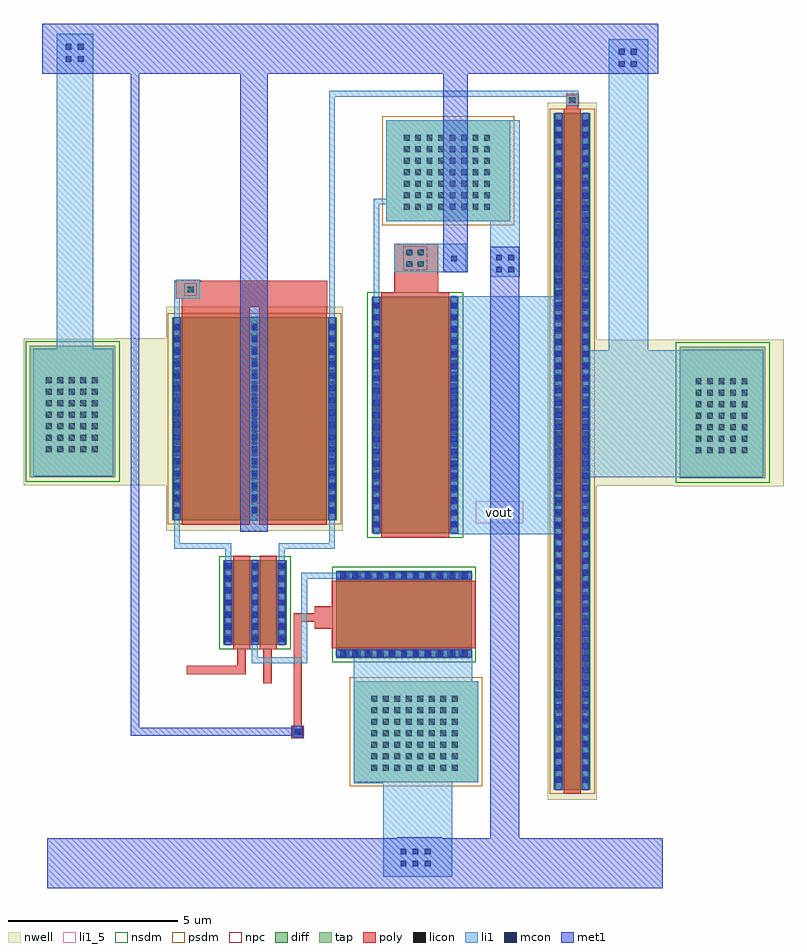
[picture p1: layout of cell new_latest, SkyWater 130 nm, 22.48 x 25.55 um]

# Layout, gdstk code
from math import pi, radians
import gdstk
lib = gdstk.Library(unit=1e-6, precision=1e-09)
def R(c, l, rs):  # rectangles x0, y0, x1, y1
    for r in rs: c.add(gdstk.rectangle(r[:2], r[2:], *l))
def A(c, l, x, y, w, h, nx, ny, dx, dy):  # array of equal rectangles
    R(c, l, [(x+i*dx, y+j*dy, x+i*dx+w, y+j*dy+h) for i in range(nx) for j in range(ny)])
nwell = (64, 20)
diff = (65, 20)
tap = (65, 44)
poly = (66, 20)
licon = (66, 44)
li1_5 = (67, 5)
li1 = (67, 20)
mcon = (67, 44)
met1 = (68, 20)
nsdm = (93, 44)
psdm = (94, 20)
npc = (95, 20)

sky130_fd_pr__nfet_01v8_ = lib.new_cell('sky130_fd_pr__nfet_01v8_DXAGR4')
R(sky130_fd_pr__nfet_01v8_, diff, [(-1.29,-3.5,1.29,3.5)])
R(sky130_fd_pr__nfet_01v8_, poly, [(-1,-3.63,1,3.63)])
A(sky130_fd_pr__nfet_01v8_, licon, -1.23, -3.315, 0.17, 0.17, 1, 20, 0, 0.34)
A(sky130_fd_pr__nfet_01v8_, licon, 1.06, -3.315, 0.17, 0.17, 1, 20, 0, 0.34)
R(sky130_fd_pr__nfet_01v8_, li1, [(-1.23,-3.52,-1.06,3.52), (1.06,-3.52,1.23,3.52)])
A(sky130_fd_pr__nfet_01v8_, mcon, -1.23, -3.325, 0.17, 0.17, 1, 19, 0, 0.36)
A(sky130_fd_pr__nfet_01v8_, mcon, 1.06, -3.325, 0.17, 0.17, 1, 19, 0, 0.36)
R(sky130_fd_pr__nfet_01v8_, met1, [(-1.26,-3.5,-1.03,3.5), (1.03,-3.5,1.26,3.5)])
R(sky130_fd_pr__nfet_01v8_, nsdm, [(-1.415,-3.625,1.415,3.625)])

c_sky130_fd_pr__nfet_01v8_ = lib.new_cell('sky130_fd_pr__nfet_01v8_JAAG9L')
R(c_sky130_fd_pr__nfet_01v8_, diff, [(-1.29,-2,1.29,2)])
R(c_sky130_fd_pr__nfet_01v8_, poly, [(-1,-2.13,1,2.13)])
A(c_sky130_fd_pr__nfet_01v8_, licon, -1.23, -1.785, 0.17, 0.17, 1, 11, 0, 0.34)
A(c_sky130_fd_pr__nfet_01v8_, licon, 1.06, -1.785, 0.17, 0.17, 1, 11, 0, 0.34)
R(c_sky130_fd_pr__nfet_01v8_, li1, [(-1.23,-2.02,-1.06,2.02), (1.06,-2.02,1.23,2.02)])
A(c_sky130_fd_pr__nfet_01v8_, mcon, -1.23, -1.885, 0.17, 0.17, 1, 11, 0, 0.36)
A(c_sky130_fd_pr__nfet_01v8_, mcon, 1.06, -1.885, 0.17, 0.17, 1, 11, 0, 0.36)
R(c_sky130_fd_pr__nfet_01v8_, met1, [(-1.26,-2,-1.03,2), (1.03,-2,1.26,2)])
R(c_sky130_fd_pr__nfet_01v8_, nsdm, [(-1.415,-2.125,1.415,2.125)])

sky130_fd_pr__pfet_01v8_ = lib.new_cell('sky130_fd_pr__pfet_01v8_A424KG')
R(sky130_fd_pr__pfet_01v8_, nwell, [(-0.72,-10.31,0.72,10.31)])
R(sky130_fd_pr__pfet_01v8_, diff, [(-0.54,-10,0.54,10)])
R(sky130_fd_pr__pfet_01v8_, poly, [(-0.25,-10.13,0.25,10.13)])
A(sky130_fd_pr__pfet_01v8_, licon, -0.48, -9.775, 0.17, 0.17, 1, 58, 0, 0.34)
A(sky130_fd_pr__pfet_01v8_, licon, 0.31, -9.775, 0.17, 0.17, 1, 58, 0, 0.34)
R(sky130_fd_pr__pfet_01v8_, li1, [(-0.48,-10.02,-0.31,10.02), (0.31,-10.02,0.48,10.02)])
A(sky130_fd_pr__pfet_01v8_, mcon, -0.48, -9.805, 0.17, 0.17, 1, 55, 0, 0.36)
A(sky130_fd_pr__pfet_01v8_, mcon, 0.31, -9.805, 0.17, 0.17, 1, 55, 0, 0.36)
R(sky130_fd_pr__pfet_01v8_, met1, [(-0.51,-10,-0.28,10), (0.28,-10,0.51,10)])
R(sky130_fd_pr__pfet_01v8_, psdm, [(-0.665,-10.125,0.665,10.125)])

c_sky130_fd_pr__pfet_01v8_ = lib.new_cell('sky130_fd_pr__pfet_01v8_LMLH7X')
R(c_sky130_fd_pr__pfet_01v8_, nwell, [(-1.47,-3.31,1.47,3.31)])
R(c_sky130_fd_pr__pfet_01v8_, diff, [(-1.29,-3,1.29,3)])
R(c_sky130_fd_pr__pfet_01v8_, poly, [(-1,-3.13,1,3.13)])
A(c_sky130_fd_pr__pfet_01v8_, licon, -1.23, -2.805, 0.17, 0.17, 1, 17, 0, 0.34)
A(c_sky130_fd_pr__pfet_01v8_, licon, 1.06, -2.805, 0.17, 0.17, 1, 17, 0, 0.34)
R(c_sky130_fd_pr__pfet_01v8_, li1, [(-1.23,-3.02,-1.06,3.02), (1.06,-3.02,1.23,3.02)])
A(c_sky130_fd_pr__pfet_01v8_, mcon, -1.23, -2.785, 0.17, 0.17, 1, 16, 0, 0.36)
A(c_sky130_fd_pr__pfet_01v8_, mcon, 1.06, -2.785, 0.17, 0.17, 1, 16, 0, 0.36)
R(c_sky130_fd_pr__pfet_01v8_, met1, [(-1.26,-3,-1.03,3), (1.03,-3,1.26,3)])
R(c_sky130_fd_pr__pfet_01v8_, psdm, [(-1.415,-3.125,1.415,3.125)])

c_sky130_fd_pr__nfet_01v8__ = lib.new_cell('sky130_fd_pr__nfet_01v8_LYFHMA')
R(c_sky130_fd_pr__nfet_01v8__, diff, [(-0.54,-1.25,0.54,1.25)])
R(c_sky130_fd_pr__nfet_01v8__, poly, [(-0.25,-1.38,0.25,1.38)])
A(c_sky130_fd_pr__nfet_01v8__, licon, -0.48, -1.105, 0.17, 0.17, 1, 7, 0, 0.34)
A(c_sky130_fd_pr__nfet_01v8__, licon, 0.31, -1.105, 0.17, 0.17, 1, 7, 0, 0.34)
R(c_sky130_fd_pr__nfet_01v8__, li1, [(-0.48,-1.27,-0.31,1.27), (0.31,-1.27,0.48,1.27)])
A(c_sky130_fd_pr__nfet_01v8__, mcon, -0.48, -1.165, 0.17, 0.17, 1, 7, 0, 0.36)
A(c_sky130_fd_pr__nfet_01v8__, mcon, 0.31, -1.165, 0.17, 0.17, 1, 7, 0, 0.36)
R(c_sky130_fd_pr__nfet_01v8__, met1, [(-0.51,-1.25,-0.28,1.25), (0.28,-1.25,0.51,1.25)])
R(c_sky130_fd_pr__nfet_01v8__, nsdm, [(-0.665,-1.375,0.665,1.375)])

new_latest = lib.new_cell('new_latest')
R(new_latest, nwell, [(3.265,13.68,6.515,13.69), (0.895,13.69,6.515,18.01), (-15.955,13.71,-11.565,13.725), (-15.96,13.725,-11.565,18.04), (0.895,18.01,3.325,18.015), (-13.23,18.04,-11.565,18.05), (0.09,24.84,0.45,24.935)])
R(new_latest, tap, [(-6.19,4.925,-2.525,7.905), (3.45,13.91,5.98,17.81), (-15.77,13.94,-13.24,17.84), (-5.23,21.515,-1.565,24.495)])
R(new_latest, poly, [(-8.015,6.28,-7.685,6.55), (-7.975,6.55,-7.725,9.665), (-8.865,7.85,-8.615,8.915), (-11.135,8.125,-9.39,8.375), (-9.64,8.375,-9.39,8.925), (-7.345,9.46,-6.755,9.665), (-7.975,9.665,-6.755,9.915), (-7.345,9.915,-6.755,10.125), (-11.275,18.805,-9.27,18.985), (-8.985,18.805,-6.98,18.985), (-11.275,18.985,-6.98,19.22), (-11.455,19.22,-6.98,19.76), (-4.995,19.41,-3.695,20.845), (-11.455,19.76,-10.74,19.785), (0.09,24.84,0.45,25.245)])
A(new_latest, licon, -5.675, 5.27, 0.17, 0.17, 8, 7, 0.34, 0.34)
A(new_latest, licon, 3.92, 14.655, 0.17, 0.17, 5, 7, 0.34, 0.34)
A(new_latest, licon, -15.3, 14.685, 0.17, 0.17, 5, 7, 0.34, 0.34)
A(new_latest, licon, -4.715, 21.86, 0.17, 0.17, 8, 7, 0.34, 0.34)
R(new_latest, licon, [(-7.935,6.33,-7.765,6.5), (-11.1,19.415,-10.93,19.585), (-4.635,20.165,-4.465,20.335), (-4.295,20.165,-4.125,20.335), (-4.635,20.505,-4.465,20.675), (-4.295,20.505,-4.125,20.675), (0.185,25.015,0.355,25.185)])
R(new_latest, li1_5, [(-2.59,12.585,-1.18,13.235)])
R(new_latest, li1, [(-5.325,2.125,-3.28,4.895), (-6.195,4.895,-3.28,4.92), (-6.195,4.92,-2.515,7.895), (-7.935,6.25,-7.765,6.295), (-7.97,6.295,-7.725,6.54), (-7.935,6.54,-7.765,6.58), (-6.2,7.895,-2.515,7.905), (-6.2,7.905,-2.685,8.67), (-9.205,8.445,-7.575,8.62), (-9.205,8.62,-9.03,8.985), (-7.75,8.62,-7.575,10.94), (-7.75,10.94,-6.71,11.115), (-8.41,11.49,-8.24,11.825), (-9.99,11.5,-9.82,11.825), (-11.505,11.825,-9.82,11.995), (-8.41,11.825,-6.755,11.995), (-11.505,11.995,-11.335,12.675), (-6.925,11.995,-6.755,12.675), (-3.32,12.26,-0.055,19.295), (0.605,13.95,5.91,17.705), (-15.67,13.98,-13.31,17.74), (1.345,17.705,2.515,26.89), (3.55,17.705,5.91,17.71), (-14.98,17.74,-13.9,26.86), (-6.925,18.655,-6.755,25.2), (-11.505,18.69,-11.335,19.22), (-11.505,19.22,-10.74,19.76), (-5.605,19.3,-5.435,22.01), (-11.455,19.76,-10.74,19.785), (-2.15,19.88,-1.29,21.51), (-5,20.005,-2.86,20.845), (-5.235,21.51,-1.29,21.525), (-5.235,21.525,-1.285,22.01), (-5.605,22.01,-1.285,22.18), (-5.235,22.18,-1.285,24.495), (-1.61,24.495,-1.285,24.5), (0.09,24.935,0.45,25.2), (-6.925,25.2,0.45,25.37), (-14.97,26.86,-13.9,27.065)])
A(new_latest, mcon, -4.81, 2.435, 0.17, 0.17, 3, 2, 0.36, 0.36)
R(new_latest, mcon, [(-7.935,6.33,-7.765,6.5), (-1.98,20,-1.81,20.17), (-1.62,20,-1.45,20.17), (-3.315,20.33,-3.145,20.5), (-1.98,20.36,-1.81,20.53), (-1.62,20.36,-1.45,20.53), (1.645,26.08,1.815,26.25), (2.005,26.08,2.175,26.25), (-14.715,26.23,-14.545,26.4), (-14.355,26.23,-14.185,26.4), (1.645,26.44,1.815,26.61), (2.005,26.44,2.175,26.61), (-14.715,26.59,-14.545,26.76), (-14.355,26.59,-14.185,26.76)])
R(new_latest, met1, [(-15.265,1.795,2.94,3.275), (-4.91,3.275,-3.59,3.305), (-2.15,3.275,-1.295,20.755), (-8,6.235,-7.695,6.295), (-12.785,6.295,-7.695,6.54), (-12.785,6.54,-12.54,25.87), (-8,6.54,-7.695,6.6), (-9.545,12.33,-8.73,25.87), (-3.54,20.005,-2.82,25.87), (-15.4,25.87,2.805,27.35)])
R(new_latest, nsdm, [(3.325,13.785,6.105,17.935), (-15.895,13.815,-13.115,17.965)])
R(new_latest, psdm, [(-6.315,4.8,-2.4,8.03), (-5.355,21.39,-1.44,24.62)])
R(new_latest, npc, [(-8.035,6.23,-7.665,6.6), (-11.2,19.315,-10.83,19.685), (-4.735,20.065,-4.025,20.775), (0.085,24.915,0.455,25.285)])
new_latest.add(gdstk.Reference(sky130_fd_pr__nfet_01v8_, (-4.375,15.785)))
new_latest.add(gdstk.Reference(c_sky130_fd_pr__nfet_01v8_, (-4.71,9.885), rotation=pi/2))
new_latest.add(gdstk.Reference(sky130_fd_pr__pfet_01v8_, (0.265,14.71), rotation=pi, x_reflection=True))
new_latest.add(gdstk.Reference(c_sky130_fd_pr__pfet_01v8_, (-10.275,15.675), rotation=pi, x_reflection=True))
new_latest.add(gdstk.Reference(c_sky130_fd_pr__nfet_01v8__, (-8.72,10.24)))
new_latest.add(gdstk.Reference(c_sky130_fd_pr__pfet_01v8_, (-7.985,15.675)))
new_latest.add(gdstk.Reference(c_sky130_fd_pr__nfet_01v8__, (-9.51,10.24), rotation=pi, x_reflection=True))
new_latest.add(gdstk.Label('vout', (-1.885,12.91), layer=67, texttype=5))

lib.write_gds('new_latest.gds')
